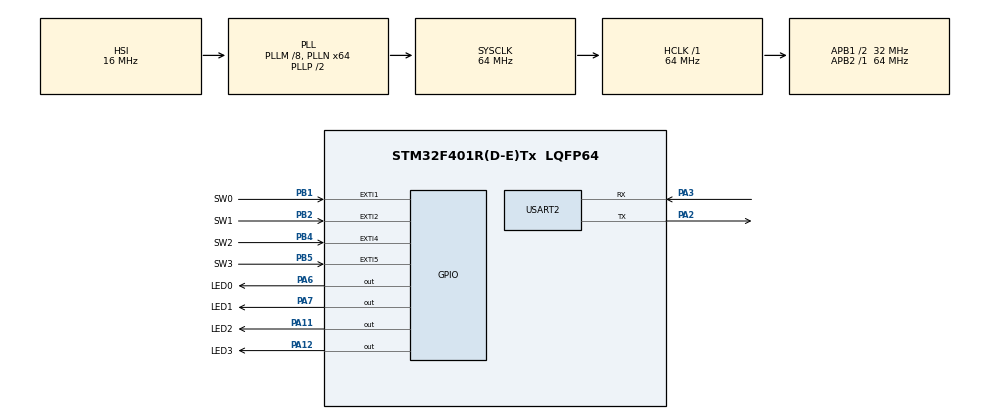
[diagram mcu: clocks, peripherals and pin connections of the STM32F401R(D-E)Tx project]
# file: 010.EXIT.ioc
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Mcu.Family=STM32F4
Mcu.Name=STM32F401R(D-E)Tx
Mcu.Package=LQFP64
NVIC.EXTI1_IRQn=true\:0\:0\:false\:false\:true\:true\:true\:true
NVIC.EXTI2_IRQn=true\:0\:0\:false\:false\:true\:true\:true\:true
NVIC.EXTI4_IRQn=true\:0\:0\:false\:false\:true\:true\:true\:true
NVIC.EXTI9_5_IRQn=true\:0\:0\:false\:false\:true\:true\:true\:true
NVIC.PriorityGroup=NVIC_PRIORITYGROUP_4
PA11.GPIO_Label=LED2
PA11.Signal=GPIO_Output
PA12.GPIO_Label=LED3
PA12.Signal=GPIO_Output
PA13.Mode=Serial_Wire
PA13.Signal=SYS_JTMS-SWDIO
PA14.Mode=Serial_Wire
PA14.Signal=SYS_JTCK-SWCLK
PA2.Mode=Asynchronous
PA2.Signal=USART2_TX
PA3.Mode=Asynchronous
PA3.Signal=USART2_RX
PA6.GPIO_Label=LED0
PA6.Signal=GPIO_Output
PA7.GPIO_Label=LED1
PA7.Signal=GPIO_Output
PB1.GPIO_Label=SW0
PB1.GPIO_ModeDefaultEXTI=GPIO_MODE_IT_RISING_FALLING
PB1.Signal=GPXTI1
PB2.GPIO_Label=SW1
PB2.GPIO_ModeDefaultEXTI=GPIO_MODE_IT_RISING_FALLING
PB2.Signal=GPXTI2
PB4.GPIO_Label=SW2
PB4.GPIO_ModeDefaultEXTI=GPIO_MODE_IT_RISING_FALLING
PB4.Signal=GPXTI4
PB5.GPIO_Label=SW3
PB5.GPIO_ModeDefaultEXTI=GPIO_MODE_IT_RISING_FALLING
PB5.Signal=GPXTI5
ProjectManager.HeapSize=0x200
ProjectManager.StackSize=0x400
ProjectManager.TargetToolchain=STM32CubeIDE
RCC.48MHZClocksFreq_Value=32000000
RCC.AHBFreq_Value=64000000
RCC.APB1CLKDivider=RCC_HCLK_DIV2
RCC.APB1Freq_Value=32000000
RCC.APB1TimFreq_Value=64000000
RCC.APB2Freq_Value=64000000
RCC.APB2TimFreq_Value=64000000
RCC.CortexFreq_Value=64000000
RCC.HCLKFreq_Value=64000000
RCC.HSE_VALUE=25000000
RCC.HSI_VALUE=16000000
RCC.LSE_VALUE=32768
RCC.PLLM=8
RCC.PLLN=64
RCC.SYSCLKFreq_VALUE=64000000
RCC.SYSCLKSource=RCC_SYSCLKSOURCE_PLLCLK
RCC.VCOOutputFreq_Value=128000000
USART2.VirtualMode=VM_ASYNC
board=custom

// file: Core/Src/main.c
/* USER CODE BEGIN Header */
/**
  ******************************************************************************
  * @file           : main.c
  * @brief          : Main program body
  ******************************************************************************
  * @attention
  *
  * Copyright (c) 2025 STMicroelectronics.
  * All rights reserved.
  *
  * This software is licensed under terms that can be found in the LICENSE file
  * in the root directory of this software component.
  * If no LICENSE file comes with this software, it is provided AS-IS.
  *
  ******************************************************************************
  */
/* USER CODE END Header */
#include "main.h"

UART_HandleTypeDef huart2;

void SystemClock_Config(void);
static void MX_GPIO_Init(void);
static void MX_USART2_UART_Init(void);

int main(void)
{

  /* MCU Configuration--------------------------------------------------------*/

  /* Reset of all peripherals, Initializes the Flash interface and the Systick. */
  HAL_Init();

  /* Configure the system clock */
  SystemClock_Config();

  /* Initialize all configured peripherals */
  MX_GPIO_Init();
  MX_USART2_UART_Init();

  /* Infinite loop */
  while (1)
  {

  }
}

void SystemClock_Config(void)
{
  RCC_OscInitTypeDef RCC_OscInitStruct = {0};
  RCC_ClkInitTypeDef RCC_ClkInitStruct = {0};

  /** Configure the main internal regulator output voltage
  */
  __HAL_RCC_PWR_CLK_ENABLE();
  __HAL_PWR_VOLTAGESCALING_CONFIG(PWR_REGULATOR_VOLTAGE_SCALE2);

  /** Initializes the RCC Oscillators according to the specified parameters
  * in the RCC_OscInitTypeDef structure.
  */
  RCC_OscInitStruct.OscillatorType = RCC_OSCILLATORTYPE_HSI;
  RCC_OscInitStruct.HSIState = RCC_HSI_ON;
  RCC_OscInitStruct.HSICalibrationValue = RCC_HSICALIBRATION_DEFAULT;
  RCC_OscInitStruct.PLL.PLLState = RCC_PLL_ON;
  RCC_OscInitStruct.PLL.PLLSource = RCC_PLLSOURCE_HSI;
  RCC_OscInitStruct.PLL.PLLM = 8;
  RCC_OscInitStruct.PLL.PLLN = 64;
  RCC_OscInitStruct.PLL.PLLP = RCC_PLLP_DIV2;
  RCC_OscInitStruct.PLL.PLLQ = 4;
  if (HAL_RCC_OscConfig(&RCC_OscInitStruct) != HAL_OK)
  {
    Error_Handler();
  }

  /** Initializes the CPU, AHB and APB buses clocks
  */
  RCC_ClkInitStruct.ClockType = RCC_CLOCKTYPE_HCLK|RCC_CLOCKTYPE_SYSCLK
                              |RCC_CLOCKTYPE_PCLK1|RCC_CLOCKTYPE_PCLK2;
  RCC_ClkInitStruct.SYSCLKSource = RCC_SYSCLKSOURCE_PLLCLK;
  RCC_ClkInitStruct.AHBCLKDivider = RCC_SYSCLK_DIV1;
  RCC_ClkInitStruct.APB1CLKDivider = RCC_HCLK_DIV2;
  RCC_ClkInitStruct.APB2CLKDivider = RCC_HCLK_DIV1;

  if (HAL_RCC_ClockConfig(&RCC_ClkInitStruct, FLASH_LATENCY_2) != HAL_OK)
  {
    Error_Handler();
  }
}

static void MX_USART2_UART_Init(void)
{

  huart2.Instance = USART2;
  huart2.Init.BaudRate = 115200;
  huart2.Init.WordLength = UART_WORDLENGTH_8B;
  huart2.Init.StopBits = UART_STOPBITS_1;
  huart2.Init.Parity = UART_PARITY_NONE;
  huart2.Init.Mode = UART_MODE_TX_RX;
  huart2.Init.HwFlowCtl = UART_HWCONTROL_NONE;
  huart2.Init.OverSampling = UART_OVERSAMPLING_16;
  if (HAL_UART_Init(&huart2) != HAL_OK)
  {
    Error_Handler();
  }

}

static void MX_GPIO_Init(void)
{
  GPIO_InitTypeDef GPIO_InitStruct = {0};

  /* GPIO Ports Clock Enable */
  __HAL_RCC_GPIOA_CLK_ENABLE();
  __HAL_RCC_GPIOB_CLK_ENABLE();

  /*Configure GPIO pin Output Level */
  HAL_GPIO_WritePin(GPIOA, LED0_Pin|LED1_Pin|LED2_Pin|LED3_Pin, GPIO_PIN_RESET);

  /*Configure GPIO pins : LED0_Pin LED1_Pin LED2_Pin LED3_Pin */
  GPIO_InitStruct.Pin = LED0_Pin|LED1_Pin|LED2_Pin|LED3_Pin;
  GPIO_InitStruct.Mode = GPIO_MODE_OUTPUT_PP;
  GPIO_InitStruct.Pull = GPIO_NOPULL;
  GPIO_InitStruct.Speed = GPIO_SPEED_FREQ_LOW;
  HAL_GPIO_Init(GPIOA, &GPIO_InitStruct);

  /*Configure GPIO pins : SW0_Pin SW1_Pin SW2_Pin SW3_Pin */
  GPIO_InitStruct.Pin = SW0_Pin|SW1_Pin|SW2_Pin|SW3_Pin;
  GPIO_InitStruct.Mode = GPIO_MODE_IT_RISING_FALLING;
  GPIO_InitStruct.Pull = GPIO_NOPULL;
  HAL_GPIO_Init(GPIOB, &GPIO_InitStruct);

  /* EXTI interrupt init*/
  HAL_NVIC_SetPriority(EXTI1_IRQn, 0, 0);
  HAL_NVIC_EnableIRQ(EXTI1_IRQn);

  HAL_NVIC_SetPriority(EXTI2_IRQn, 0, 0);
  HAL_NVIC_EnableIRQ(EXTI2_IRQn);

  HAL_NVIC_SetPriority(EXTI4_IRQn, 0, 0);
  HAL_NVIC_EnableIRQ(EXTI4_IRQn);

  HAL_NVIC_SetPriority(EXTI9_5_IRQn, 0, 0);
  HAL_NVIC_EnableIRQ(EXTI9_5_IRQn);

}

/* USER CODE BEGIN 4 */
void HAL_GPIO_EXTI_Callback(uint16_t GPIO_Pin)
{
	switch(GPIO_Pin)
	{
	case SW0_Pin :
		if(HAL_GPIO_ReadPin(SW0_GPIO_Port, SW0_Pin))
		{
			HAL_GPIO_WritePin(LED0_GPIO_Port, LED0_Pin, RESET);
		}
		else
		{
			HAL_GPIO_WritePin(LED0_GPIO_Port, LED0_Pin, SET);
		}
		break;
	case SW1_Pin :
		if(HAL_GPIO_ReadPin(SW1_GPIO_Port, SW1_Pin))
		{
			HAL_GPIO_WritePin(LED1_GPIO_Port, LED1_Pin, RESET);
		}
		else
		{
			HAL_GPIO_WritePin(LED1_GPIO_Port, LED1_Pin, SET);
		}
		break;
	case SW2_Pin :
		if(HAL_GPIO_ReadPin(SW2_GPIO_Port, SW2_Pin))
		{
			HAL_GPIO_WritePin(LED2_GPIO_Port, LED2_Pin, RESET);
		}
		else
		{
			HAL_GPIO_WritePin(LED2_GPIO_Port, LED2_Pin, SET);
		}
		break;
	case SW3_Pin :
		if(HAL_GPIO_ReadPin(SW3_GPIO_Port, SW3_Pin))
		{
			HAL_GPIO_WritePin(LED3_GPIO_Port, LED3_Pin, RESET);
		}
		else
		{
			HAL_GPIO_WritePin(LED3_GPIO_Port, LED3_Pin, SET);
		}
		break;
	}
}
/* USER CODE END 4 */

void Error_Handler(void)
{
  __disable_irq();
  while (1)
  {
  }
}
